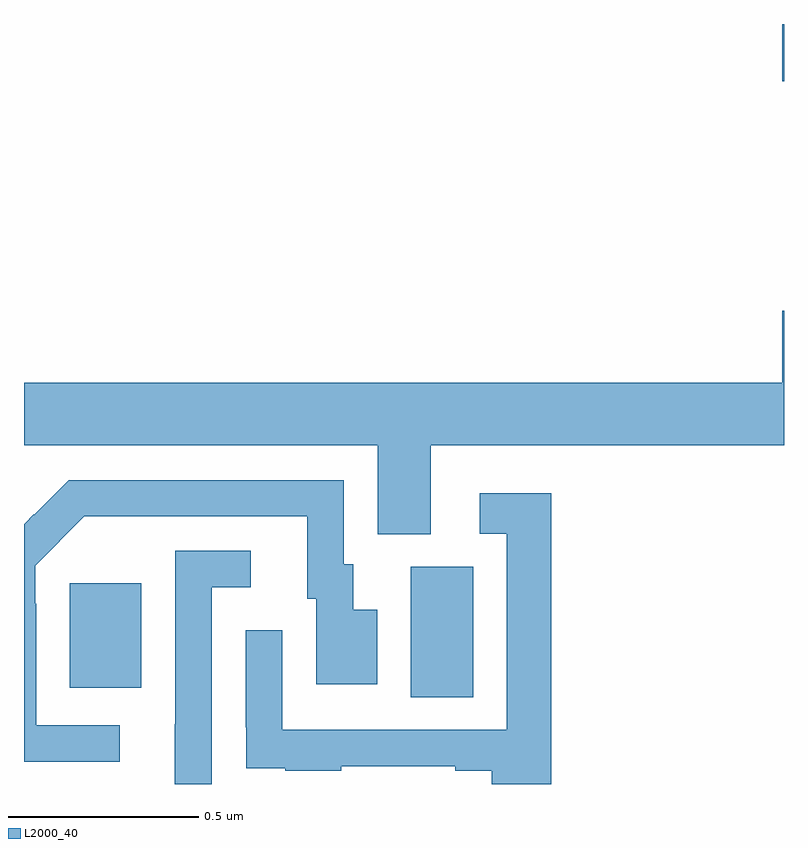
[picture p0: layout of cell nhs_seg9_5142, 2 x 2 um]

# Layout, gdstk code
import gdstk
lib = gdstk.Library(unit=1e-6, precision=1e-09)
def R(c, l, rs):  # rectangles x0, y0, x1, y1
    for r in rs: c.add(gdstk.rectangle(r[:2], r[2:], *l))
def P(c, l, *ps):  # polygons
    for p in ps: c.add(gdstk.Polygon(p, *l))
L2000_40 = (2000, 40)

nhs_seg9_5142 = lib.new_cell('nhs_seg9_5142')
R(nhs_seg9_5142, L2000_40, [(176.018,1223.728,176.182,1224.072), (175.121,1223.753,175.309,1224.028), (176.996,1225.35,177,1225.5)])
P(nhs_seg9_5142, L2000_40, [(176.071,1224.392),(177,1224.392),(177,1224.745),(176.996,1224.745),(176.996,1224.556),(175,1224.556),(175,1224.392),(175.931,1224.392),(175.931,1224.157),(176.071,1224.157)],
  [(175.252,1223.655),(175.032,1223.655),(175.032,1223.975),(175.029,1223.975),(175.029,1224.075),(175.158,1224.204),(175.745,1224.204),(175.745,1223.988),(175.769,1223.988),(175.769,1223.763),(175.93,1223.763),(175.93,1223.959),(175.867,1223.959),(175.867,1224.078),(175.842,1224.078),(175.842,1224.3),(175.118,1224.3),(175.027,1224.209),(175.026,1224.21),(175,1224.184),(175,1223.559),(175.252,1223.559)],
  [(176.387,1224.265),(176.199,1224.265),(176.199,1224.159),(176.271,1224.159),(176.271,1223.643),(175.68,1223.643),(175.68,1223.905),(175.584,1223.905),(175.584,1223.65),(175.585,1223.65),(175.585,1223.541),(175.687,1223.541),(175.687,1223.535),(175.835,1223.535),(175.835,1223.547),(176.135,1223.547),(176.135,1223.535),(176.231,1223.535),(176.231,1223.5),(176.387,1223.5)],
  [(175.494,1224.018),(175.597,1224.018),(175.597,1224.114),(175.398,1224.114),(175.398,1223.657),(175.397,1223.657),(175.397,1223.5),(175.494,1223.5)])

lib.write_gds('nhs_seg9_5142.gds')
